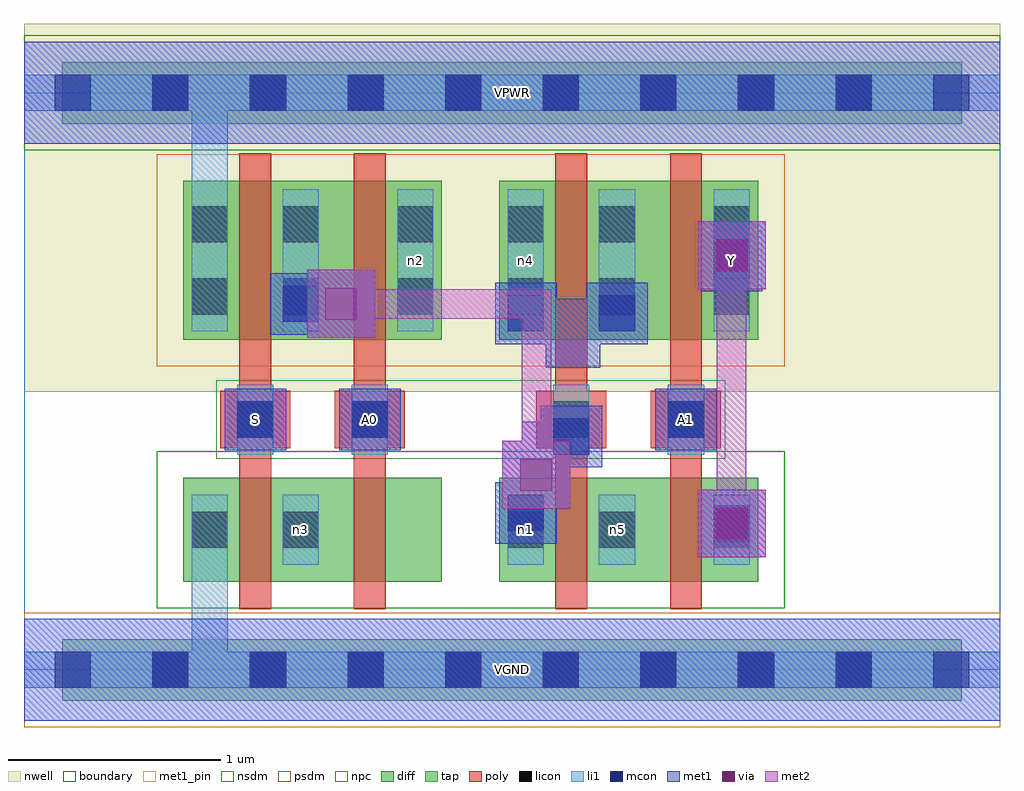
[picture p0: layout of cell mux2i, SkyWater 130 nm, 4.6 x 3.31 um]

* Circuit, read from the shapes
.subckt mux2i A0 A1 S VGND VPWR Y n1 n2 n3 n4 n5
XM1 n3 S VGND VGND sky130_fd_pr__nfet_01v8 w=0.49 l=0.15
XM2 n6 A0 n3 VGND sky130_fd_pr__nfet_01v8 w=0.49 l=0.15
XM3 n5 n1 n1 VGND sky130_fd_pr__nfet_01v8 w=0.49 l=0.15
XM4 Y A1 n5 VGND sky130_fd_pr__nfet_01v8 w=0.49 l=0.15
XM5 n1 S VPWR VPWR sky130_fd_pr__pfet_01v8 w=0.75 l=0.15
XM6 n2 A0 n1 VPWR sky130_fd_pr__pfet_01v8 w=0.75 l=0.15
XM7 n4 n1 n4 VPWR sky130_fd_pr__pfet_01v8 w=0.75 l=0.15
XM8 Y A1 n4 VPWR sky130_fd_pr__pfet_01v8 w=0.75 l=0.15
.ends

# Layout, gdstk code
import gdstk
lib = gdstk.Library(unit=1e-6, precision=1e-09)
def R(c, l, rs):  # rectangles x0, y0, x1, y1
    for r in rs: c.add(gdstk.rectangle(r[:2], r[2:], *l))
def A(c, l, x, y, w, h, nx, ny, dx, dy):  # array of equal rectangles
    R(c, l, [(x+i*dx, y+j*dy, x+i*dx+w, y+j*dy+h) for i in range(nx) for j in range(ny)])
nwell = (64, 20)
diff = (65, 20)
tap = (65, 44)
poly = (66, 20)
licon = (66, 44)
li1 = (67, 20)
mcon = (67, 44)
met1_pin = (68, 16)
met1 = (68, 20)
via = (68, 44)
met2 = (69, 20)
nsdm = (93, 44)
psdm = (94, 20)
npc = (95, 20)
boundary = (235, 4)

mux2i = lib.new_cell('mux2i')
R(mux2i, nwell, [(0,1.31,4.6,3.045)])
R(mux2i, diff, [(0.75,0.415,1.97,0.905), (2.24,0.415,3.46,0.905), (0.75,1.555,1.97,2.305), (2.24,1.555,3.46,2.305)])
R(mux2i, tap, [(0.18,-0.145,4.42,0.145), (0.18,2.575,4.42,2.865)])
R(mux2i, poly, [(1.015,0.285,1.165,2.435), (1.555,0.285,1.705,2.435), (2.505,0.285,2.655,2.435), (3.045,0.285,3.195,2.435), (0.925,1.045,1.255,1.315), (1.465,1.045,1.795,1.315), (2.415,1.045,2.745,1.315), (2.955,1.045,3.285,1.315)])
A(mux2i, licon, 0.605, -0.085, 0.17, 0.17, 8, 2, 0.46, 2.72)
R(mux2i, licon, [(0.79,0.575,0.96,0.745), (1.22,0.575,1.39,0.745), (2.28,0.575,2.45,0.745), (2.71,0.575,2.88,0.745), (3.25,0.575,3.42,0.745), (1.005,1.095,1.175,1.265), (1.545,1.095,1.715,1.265), (2.495,1.095,2.665,1.265), (3.035,1.095,3.205,1.265), (0.79,1.675,0.96,1.845), (1.22,1.675,1.39,1.845), (1.76,1.675,1.93,1.845), (2.28,1.675,2.45,1.845), (2.71,1.675,2.88,1.845), (3.25,1.675,3.42,1.845), (0.79,2.015,0.96,2.185), (1.22,2.015,1.39,2.185), (1.76,2.015,1.93,2.185), (2.28,2.015,2.45,2.185), (2.71,2.015,2.88,2.185), (3.25,2.015,3.42,2.185)])
R(mux2i, li1, [(0,-0.085,4.6,0.085), (0.79,-0.085,0.96,0.825), (0.79,0.495,0.96,0.825), (1.22,0.495,1.39,0.825), (2.28,0.495,2.45,0.825), (2.71,0.495,2.88,0.825), (3.25,0.495,3.42,0.825), (1.005,1.015,1.175,1.345), (1.545,1.015,1.715,1.345), (2.495,1.015,2.665,1.345), (3.035,1.015,3.205,1.345), (0.79,1.595,0.96,2.265), (0.79,1.595,0.96,2.805), (1.22,1.595,1.39,2.265), (1.76,1.595,1.93,2.265), (2.28,1.595,2.45,2.265), (2.71,1.595,2.88,2.265), (3.25,1.595,3.42,2.265), (0,2.635,4.6,2.805)])
A(mux2i, mcon, 0.145, -0.085, 0.17, 0.17, 10, 2, 0.46, 2.72)
R(mux2i, mcon, [(3.25,0.605,3.42,0.775), (2.28,0.655,2.45,0.825), (2.495,1.015,2.665,1.185), (1.005,1.095,1.175,1.265), (1.545,1.095,1.715,1.265), (3.035,1.095,3.205,1.265), (2.28,1.595,2.45,1.765), (2.71,1.595,2.88,1.765), (1.22,1.64,1.39,1.81), (3.25,1.845,3.42,2.015)])
R(mux2i, met1_pin, [(0,-0.24,4.6,0.24), (0.945,1.035,1.235,1.325), (1.485,1.035,1.775,1.325), (2.975,1.035,3.265,1.325), (3.19,1.785,3.48,2.075), (0,2.48,4.6,2.96)])
R(mux2i, met1, [(0,-0.24,4.6,0.24), (3.175,0.53,3.495,0.85), (3.19,0.545,3.48,0.835), (2.22,0.595,2.51,0.885), (2.295,0.67,2.485,0.81), (2.345,0.67,2.485,0.99), (2.255,0.76,2.575,1.08), (2.345,0.85,2.485,1.17), (2.435,0.885,2.51,0.955), (2.435,0.955,2.725,1.245), (2.345,1.03,2.65,1.17), (0.945,1.035,1.235,1.325), (1.485,1.035,1.775,1.325), (2.975,1.035,3.265,1.325), (2.46,1.425,2.6,1.75), (2.46,1.425,2.715,1.565), (2.575,1.425,2.715,1.75), (2.22,1.535,2.51,1.825), (2.65,1.535,2.94,1.825), (1.335,1.565,1.655,1.885), (1.16,1.58,1.45,1.87), (2.295,1.61,2.6,1.75), (2.575,1.61,2.865,1.75), (1.235,1.655,1.565,1.795), (3.19,1.785,3.48,2.075), (3.175,1.795,3.495,2.115), (3.265,1.885,3.405,2.025), (0,2.48,4.6,2.96)])
R(mux2i, via, [(3.26,0.615,3.41,0.765), (2.34,0.845,2.49,0.995), (1.42,1.65,1.57,1.8), (3.26,1.88,3.41,2.03)])
R(mux2i, met2, [(3.175,0.53,3.495,0.85), (3.265,0.62,3.405,2.025), (2.255,0.76,2.575,1.08), (2.345,0.85,2.485,1.795), (1.335,1.565,1.655,1.885), (1.425,1.655,2.485,1.795), (3.175,1.795,3.495,2.115)])
R(mux2i, nsdm, [(0.625,0.29,3.585,1.03), (0,2.45,4.6,2.99)])
R(mux2i, psdm, [(0,-0.27,4.6,0.27), (0.625,1.43,3.585,2.43)])
R(mux2i, npc, [(0.905,0.995,3.305,1.365)])
R(mux2i, boundary, [(0,0,4.6,2.72)])
mux2i.add(gdstk.Label('n3', (1.305,0.66), layer=67, texttype=5))
mux2i.add(gdstk.Label('n1', (2.365,0.66), layer=67, texttype=5))
mux2i.add(gdstk.Label('n5', (2.795,0.66), layer=67, texttype=5))
mux2i.add(gdstk.Label('n2', (1.845,1.93), layer=67, texttype=5))
mux2i.add(gdstk.Label('n4', (2.365,1.93), layer=67, texttype=5))
mux2i.add(gdstk.Label('S', (1.09,1.18), layer=68, texttype=5))
mux2i.add(gdstk.Label('A0', (1.63,1.18), layer=68, texttype=5))
mux2i.add(gdstk.Label('A1', (3.12,1.18), layer=68, texttype=5))
mux2i.add(gdstk.Label('Y', (3.335,1.93), layer=68, texttype=5))
mux2i.add(gdstk.Label('VPWR', (2.3,2.72), layer=68, texttype=5))
mux2i.add(gdstk.Label('VGND', (2.3,0), layer=68, texttype=5))
mux2i.add(gdstk.Label('S', (1.09,1.18), layer=68, texttype=16))
mux2i.add(gdstk.Label('A0', (1.63,1.18), layer=68, texttype=16))
mux2i.add(gdstk.Label('A1', (3.12,1.18), layer=68, texttype=16))
mux2i.add(gdstk.Label('Y', (3.335,1.93), layer=68, texttype=16))
mux2i.add(gdstk.Label('VPWR', (2.3,2.72), layer=68, texttype=16))
mux2i.add(gdstk.Label('VGND', (2.3,0), layer=68, texttype=16))

lib.write_gds('mux2i.gds')
